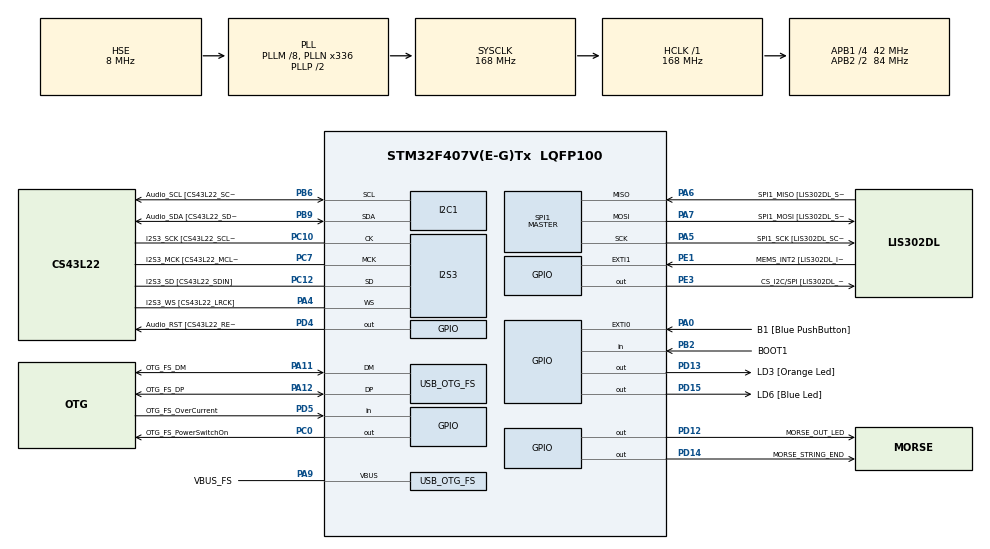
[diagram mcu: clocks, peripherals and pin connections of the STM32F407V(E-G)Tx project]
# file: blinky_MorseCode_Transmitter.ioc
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I2S3.AudioFreq-Half_Duplex_Master=I2S_AUDIOFREQ_96K
I2S3.ErrorAudioFreq=-2.34 %
I2S3.ErrorAudioFreq-Half_Duplex_Master=0.8 %
I2S3.FullDuplexMode=I2S_FULLDUPLEXMODE_DISABLE
I2S3.Instance=SPI$Index
I2S3.RealAudioFreq=93.75 KHz
I2S3.RealAudioFreq-Half_Duplex_Master=96.774 KHz
I2S3.VirtualMode=I2S_MODE_MASTER
Mcu.Family=STM32F4
Mcu.Name=STM32F407V(E-G)Tx
Mcu.Package=LQFP100
NVIC.OTG_FS_IRQn=true\:0\:0\:false\:false\:true\:true\:true\:true
NVIC.PriorityGroup=NVIC_PRIORITYGROUP_0
PA0-WKUP.GPIO_Label=B1 [Blue PushButton]
PA0-WKUP.GPIO_ModeDefaultEXTI=GPIO_MODE_EVT_RISING
PA0-WKUP.GPIO_PuPd=GPIO_NOPULL
PA0-WKUP.Signal=GPXTI0
PA10.GPIO_Label=OTG_FS_ID
PA10.GPIO_Mode=GPIO_MODE_AF_PP
PA10.GPIO_PuPd=GPIO_NOPULL
PA10.GPIO_Speed=GPIO_SPEED_FREQ_LOW
PA10.Signal=USB_OTG_FS_ID
PA11.GPIO_Label=OTG_FS_DM
PA11.GPIO_Mode=GPIO_MODE_AF_PP
PA11.GPIO_PuPd=GPIO_NOPULL
PA11.GPIO_Speed=GPIO_SPEED_FREQ_LOW
PA11.Mode=Host_Only
PA11.Signal=USB_OTG_FS_DM
PA12.GPIO_Label=OTG_FS_DP
PA12.GPIO_Mode=GPIO_MODE_AF_PP
PA12.GPIO_PuPd=GPIO_NOPULL
PA12.GPIO_Speed=GPIO_SPEED_FREQ_LOW
PA12.Mode=Host_Only
PA12.Signal=USB_OTG_FS_DP
PA13.GPIO_Label=SWDIO
PA13.Mode=Serial_Wire
PA13.Signal=SYS_JTMS-SWDIO
PA14.GPIO_Label=SWCLK
PA14.Mode=Serial_Wire
PA14.Signal=SYS_JTCK-SWCLK
PA4.GPIO_Label=I2S3_WS [CS43L22_LRCK]
PA4.GPIO_Mode=GPIO_MODE_AF_PP
PA4.GPIO_PuPd=GPIO_NOPULL
PA4.GPIO_Speed=GPIO_SPEED_FREQ_LOW
PA4.Mode=Half_Duplex_Master
PA4.Signal=I2S3_WS
PA5.GPIO_Label=SPI1_SCK [LIS302DL_SCL/SPC]
PA5.GPIO_Mode=GPIO_MODE_AF_PP
PA5.GPIO_PuPd=GPIO_NOPULL
PA5.GPIO_Speed=GPIO_SPEED_FREQ_LOW
PA5.Mode=Full_Duplex_Master
PA5.Signal=SPI1_SCK
PA6.GPIO_Label=SPI1_MISO [LIS302DL_SDO]
PA6.GPIO_Mode=GPIO_MODE_AF_PP
PA6.GPIO_PuPd=GPIO_NOPULL
PA6.GPIO_Speed=GPIO_SPEED_FREQ_LOW
PA6.Mode=Full_Duplex_Master
PA6.Signal=SPI1_MISO
PA7.GPIO_Label=SPI1_MOSI [LIS302DL_SDA/SDI/SDO]
PA7.GPIO_Mode=GPIO_MODE_AF_PP
PA7.GPIO_PuPd=GPIO_NOPULL
PA7.GPIO_Speed=GPIO_SPEED_FREQ_LOW
PA7.Mode=Full_Duplex_Master
PA7.Signal=SPI1_MOSI
PA9.GPIO_Label=VBUS_FS
PA9.GPIO_Mode=GPIO_MODE_INPUT
PA9.GPIO_PuPd=GPIO_NOPULL
PA9.Mode=Activate_VBUS
PA9.Signal=USB_OTG_FS_VBUS
PB10.GPIO_Label=CLK_IN [MP45DT02_CLK]
PB10.GPIO_Mode=GPIO_MODE_AF_PP
PB10.GPIO_PuPd=GPIO_NOPULL
PB10.GPIO_Speed=GPIO_SPEED_FREQ_LOW
PB10.Signal=I2S2_CK
PB2.GPIO_Label=BOOT1
PB2.GPIO_Mode=GPIO_MODE_INPUT
PB2.GPIO_PuPd=GPIO_NOPULL
PB2.Signal=GPIO_Input
PB3.GPIO_Label=SWO
PB3.Signal=SYS_JTDO-SWO
PB6.GPIO_Label=Audio_SCL [CS43L22_SCL]
PB6.GPIO_Mode=GPIO_MODE_AF_OD
PB6.GPIO_Pu=GPIO_PULLUP
PB6.GPIO_PuPd=GPIO_NOPULL
PB6.GPIO_Speed=GPIO_SPEED_FREQ_LOW
PB6.Mode=I2C
PB6.Signal=I2C1_SCL
PB9.GPIO_Label=Audio_SDA [CS43L22_SDA]
PB9.GPIO_Mode=GPIO_MODE_AF_OD
PB9.GPIO_Pu=GPIO_PULLUP
PB9.GPIO_PuPd=GPIO_NOPULL
PB9.GPIO_Speed=GPIO_SPEED_FREQ_LOW
PB9.Mode=I2C
PB9.Signal=I2C1_SDA
PC0.GPIO_Label=OTG_FS_PowerSwitchOn
PC0.GPIO_PuPd=GPIO_NOPULL
PC0.GPIO_Speed=GPIO_SPEED_FREQ_LOW
PC0.PinState=GPIO_PIN_SET
PC0.Signal=GPIO_Output
PC10.GPIO_Label=I2S3_SCK [CS43L22_SCLK]
PC10.GPIO_Mode=GPIO_MODE_AF_PP
PC10.GPIO_PuPd=GPIO_NOPULL
PC10.GPIO_Speed=GPIO_SPEED_FREQ_LOW
PC10.Mode=Half_Duplex_Master
PC10.Signal=I2S3_CK
PC12.GPIO_Label=I2S3_SD [CS43L22_SDIN]
PC12.GPIO_Mode=GPIO_MODE_AF_PP
PC12.GPIO_PuPd=GPIO_NOPULL
PC12.GPIO_Speed=GPIO_SPEED_FREQ_LOW
PC12.Mode=Half_Duplex_Master
PC12.Signal=I2S3_SD
PC14-OSC32_IN.GPIO_Label=PC14-OSC32_IN
PC14-OSC32_IN.Mode=LSE-External-Oscillator
PC14-OSC32_IN.Signal=RCC_OSC32_IN
PC15-OSC32_OUT.GPIO_Label=PC15-OSC32_OUT
PC15-OSC32_OUT.Mode=LSE-External-Oscillator
PC15-OSC32_OUT.Signal=RCC_OSC32_OUT
PC3.GPIO_Label=PDM_OUT [MP45DT02_DOUT]
PC3.GPIO_Mode=GPIO_MODE_AF_PP
PC3.GPIO_PuPd=GPIO_NOPULL
PC3.GPIO_Speed=GPIO_SPEED_FREQ_LOW
PC3.Signal=I2S2_SD
PC7.GPIO_Label=I2S3_MCK [CS43L22_MCLK]
PC7.GPIO_Mode=GPIO_MODE_AF_PP
PC7.GPIO_PuPd=GPIO_NOPULL
PC7.GPIO_Speed=GPIO_SPEED_FREQ_LOW
PC7.Mode=Master_Clock_Activated
PC7.Signal=I2S3_MCK
PD12.GPIO_Label=MORSE_OUT_LED
PD12.GPIO_PuPd=GPIO_NOPULL
PD12.GPIO_Speed=GPIO_SPEED_FREQ_LOW
PD12.Signal=GPIO_Output
PD13.GPIO_Label=LD3 [Orange Led]
PD13.GPIO_PuPd=GPIO_NOPULL
PD13.GPIO_Speed=GPIO_SPEED_FREQ_LOW
PD13.Signal=GPIO_Output
PD14.GPIO_Label=MORSE_STRING_END
PD14.GPIO_PuPd=GPIO_NOPULL
PD14.GPIO_Speed=GPIO_SPEED_FREQ_LOW
PD14.Signal=GPIO_Output
PD15.GPIO_Label=LD6 [Blue Led]
PD15.GPIO_PuPd=GPIO_NOPULL
PD15.GPIO_Speed=GPIO_SPEED_FREQ_LOW
PD15.Signal=GPIO_Output
PD4.GPIO_Label=Audio_RST [CS43L22_RESET]
PD4.GPIO_PuPd=GPIO_NOPULL
PD4.GPIO_Speed=GPIO_SPEED_FREQ_LOW
PD4.Signal=GPIO_Output
PD5.GPIO_Label=OTG_FS_OverCurrent
PD5.GPIO_Mode=GPIO_MODE_INPUT
PD5.GPIO_PuPd=GPIO_NOPULL
PD5.Signal=GPIO_Input
PE1.GPIO_Label=MEMS_INT2 [LIS302DL_INT2]
PE1.GPIO_ModeDefaultEXTI=GPIO_MODE_EVT_RISING
PE1.GPIO_PuPd=GPIO_NOPULL
PE1.Signal=GPXTI1
PE3.GPIO_Label=CS_I2C/SPI [LIS302DL_CS_I2C/SPI]
PE3.GPIO_PuPd=GPIO_NOPULL
PE3.GPIO_Speed=GPIO_SPEED_FREQ_LOW
PE3.Signal=GPIO_Output
PH0-OSC_IN.GPIO_Label=PH0-OSC_IN
PH0-OSC_IN.Mode=HSE-External-Oscillator
PH0-OSC_IN.Signal=RCC_OSC_IN
PH1-OSC_OUT.GPIO_Label=PH1-OSC_OUT
PH1-OSC_OUT.Mode=HSE-External-Oscillator
PH1-OSC_OUT.Signal=RCC_OSC_OUT
ProjectManager.HeapSize=0x200
ProjectManager.StackSize=0x400
ProjectManager.TargetToolchain=STM32CubeIDE
RCC.48MHZClocksFreq_Value=48000000
RCC.AHBFreq_Value=168000000
RCC.APB1CLKDivider=RCC_HCLK_DIV4
RCC.APB1Freq_Value=42000000
RCC.APB1TimFreq_Value=84000000
RCC.APB2CLKDivider=RCC_HCLK_DIV2
RCC.APB2Freq_Value=84000000
RCC.APB2TimFreq_Value=168000000
RCC.CortexFreq_Value=168000000
RCC.HCLKFreq_Value=168000000
RCC.HSE_VALUE=8000000
RCC.HSI_VALUE=16000000
RCC.PLLM=8
RCC.PLLN=336
RCC.PLLQ=7
RCC.SYSCLKFreq_VALUE=168000000
RCC.SYSCLKSource=RCC_SYSCLKSOURCE_PLLCLK
RCC.VCOOutputFreq_Value=336000000
SPI1.BaudRatePrescaler-Full_Duplex_Master=SPI_BAUDRATEPRESCALER_2
SPI1.CalculateBaudRate-Full_Duplex_Master=42.0 MBits/s
SPI1.Direction=SPI_DIRECTION_2LINES
SPI1.Mode=SPI_MODE_MASTER
SPI1.Mode-Full_Duplex_Master=SPI_MODE_MASTER
SPI1.VirtualType=VM_MASTER
USB_HOST.BSP.number=1
USB_HOST.USBH_HandleTypeDef-CDC_FS=hUsbHostFS
USB_HOST.VirtualModeFS=Cdc
USB_HOST0.BSP.STBoard=false
USB_HOST0.BSP.api=Unknown
USB_HOST0.BSP.instance=PC0
USB_HOST0.BSP.ip=GPIO
USB_HOST0.BSP.mode=Output
USB_HOST0.BSP.name=Drive_VBUS_FS
USB_HOST0.BSP.solution=PC0
USB_OTG_FS.VirtualMode=Host_Only
USB_OTG_FS.phy_itface=HCD_PHY_EMBEDDED
VP_USB_HOST_VS_USB_HOST_CDC_FS.Mode=CDC_FS
board=STM32F407G-DISC1

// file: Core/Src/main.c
/* USER CODE BEGIN Header */
/**
  ******************************************************************************
  * @file           : main.c
  * @brief          : Main program body
  ******************************************************************************
  * @attention
  *
  * Copyright (c) 2023 STMicroelectronics.
  * All rights reserved.
  *
  * This software is licensed under terms that can be found in the LICENSE file
  * in the root directory of this software component.
  * If no LICENSE file comes with this software, it is provided AS-IS.
  *
  ******************************************************************************
  */
/* USER CODE END Header */
#include "main.h"
#include "usb_host.h"

/* USER CODE BEGIN Includes */
#include "string.h"
/* USER CODE END Includes */

I2C_HandleTypeDef hi2c1;

I2S_HandleTypeDef hi2s3;

SPI_HandleTypeDef hspi1;

void SystemClock_Config(void);
static void MX_GPIO_Init(void);
static void MX_I2C1_Init(void);
static void MX_I2S3_Init(void);
static void MX_SPI1_Init(void);
void MX_USB_HOST_Process(void);

/* USER CODE BEGIN 0 */
void out_dot (int unit_of_time);
void out_dash(int unit_of_time);
void out_spacing(int unit_of_time, int time_spacing);
/* USER CODE END 0 */

int main(void)
{
  /* USER CODE BEGIN 1 */

	//Defining the Morse-Code Code for A-Z in English Morse-Code.
	//0=dot,1=dash,read right-to-left
	const unsigned long a_table[36] =
	{
		0b110100,		//A
		0b1100000001,	//B
		0b1100010001,	//C
		0b11000001,		//D
		0b1100,		//E
		0b1100010000,	//F
		0b11000101,		//G
		0b1100000000,	//H
		0b110000,		//I
		0b1101010100,	//J
		0b11010001,		//K
		0b1100000100,	//L
		0b110101,		//M
		0b110001,		//N
		0b11010101,		//O
		0b1100010100,	//P
		0b1101000101,	//Q
		0b11000100,		//R
		0b11000000,		//S
		0b1101,			//T
		0b11010000,		//U
		0b1101000000,	//V
		0b11010100,		//W
		0b1101000001,	//X
		0b1101010001,	//Y
		0b1100000101,	//Z
	};

	//NOTE: ONLY UPPERCASE ONLY MESSAGES
	char msg[] = "OMAR";
	int  msglen = strlen(msg);
	int morse_time_unit = 500;
	int word_spacing_time_scale = 7;
	int letter_spacing_time_scale = 3;

  /* USER CODE END 1 */

  /* MCU Configuration--------------------------------------------------------*/

  /* Reset of all peripherals, Initializes the Flash interface and the Systick. */
  HAL_Init();

  /* Configure the system clock */
  SystemClock_Config();

  /* Initialize all configured peripherals */
  MX_GPIO_Init();
  MX_I2C1_Init();
  MX_I2S3_Init();
  MX_SPI1_Init();
  MX_USB_HOST_Init();

  /* Infinite loop */
  while (1)
  {
    MX_USB_HOST_Process();

    /* USER CODE BEGIN 3 */
    //initial delay before transmitting code
    HAL_Delay(500);

	int i = 0;
	int k = 0;
	for (i = 0; i <= msglen; i++){
		if (msg[i] == '\0') {
			// if the current character has ended then exit.
			// ending indicated by 10seconds of RED LED (PD14)
			HAL_GPIO_WritePin(MORSE_STRING_END_GPIO_Port, MORSE_STRING_END_Pin, GPIO_PIN_SET);
			HAL_Delay(10000);
			HAL_GPIO_WritePin(GPIOD, GPIO_PIN_14, GPIO_PIN_RESET);
			break;
		}else if (msg[i] == ' '){
			// if the current character has space, wait word-spacing time units
			out_spacing(morse_time_unit, word_spacing_time_scale);
		}else{
			// if the current character is A~Z, translate to Morse-Code
			int temp = msg[i]-65;
			while (1){
				//0 = dot
				//1 = dash
				//F = exit condition
				int hex_digit = (a_table[temp] & ( 0b11 << 2*k )) >> 2*k;
				if (hex_digit == 0xf){
					out_spacing(morse_time_unit,letter_spacing_time_scale);
					break;
				}else if (hex_digit == 0b01){
					//dash flash
					out_dash(morse_time_unit);
					//letter spacing
					out_spacing(morse_time_unit,1);
				}else if (hex_digit == 0b00){
					//dot flash
					out_dot (morse_time_unit);
					//letter spacing
					out_spacing(morse_time_unit,1);
				}else{
					//there is an error if we are here !!
					break;
				}
				k = k + 1;
			}
			k = 0;
		}
	}
  }
  /* USER CODE END 3 */
}

void SystemClock_Config(void)
{
  RCC_OscInitTypeDef RCC_OscInitStruct = {0};
  RCC_ClkInitTypeDef RCC_ClkInitStruct = {0};

  /** Configure the main internal regulator output voltage
  */
  __HAL_RCC_PWR_CLK_ENABLE();
  __HAL_PWR_VOLTAGESCALING_CONFIG(PWR_REGULATOR_VOLTAGE_SCALE1);

  /** Initializes the RCC Oscillators according to the specified parameters
  * in the RCC_OscInitTypeDef structure.
  */
  RCC_OscInitStruct.OscillatorType = RCC_OSCILLATORTYPE_HSE;
  RCC_OscInitStruct.HSEState = RCC_HSE_ON;
  RCC_OscInitStruct.PLL.PLLState = RCC_PLL_ON;
  RCC_OscInitStruct.PLL.PLLSource = RCC_PLLSOURCE_HSE;
  RCC_OscInitStruct.PLL.PLLM = 8;
  RCC_OscInitStruct.PLL.PLLN = 336;
  RCC_OscInitStruct.PLL.PLLP = RCC_PLLP_DIV2;
  RCC_OscInitStruct.PLL.PLLQ = 7;
  if (HAL_RCC_OscConfig(&RCC_OscInitStruct) != HAL_OK)
  {
    Error_Handler();
  }

  /** Initializes the CPU, AHB and APB buses clocks
  */
  RCC_ClkInitStruct.ClockType = RCC_CLOCKTYPE_HCLK|RCC_CLOCKTYPE_SYSCLK
                              |RCC_CLOCKTYPE_PCLK1|RCC_CLOCKTYPE_PCLK2;
  RCC_ClkInitStruct.SYSCLKSource = RCC_SYSCLKSOURCE_PLLCLK;
  RCC_ClkInitStruct.AHBCLKDivider = RCC_SYSCLK_DIV1;
  RCC_ClkInitStruct.APB1CLKDivider = RCC_HCLK_DIV4;
  RCC_ClkInitStruct.APB2CLKDivider = RCC_HCLK_DIV2;

  if (HAL_RCC_ClockConfig(&RCC_ClkInitStruct, FLASH_LATENCY_5) != HAL_OK)
  {
    Error_Handler();
  }
}

static void MX_I2C1_Init(void)
{

  hi2c1.Instance = I2C1;
  hi2c1.Init.ClockSpeed = 100000;
  hi2c1.Init.DutyCycle = I2C_DUTYCYCLE_2;
  hi2c1.Init.OwnAddress1 = 0;
  hi2c1.Init.AddressingMode = I2C_ADDRESSINGMODE_7BIT;
  hi2c1.Init.DualAddressMode = I2C_DUALADDRESS_DISABLE;
  hi2c1.Init.OwnAddress2 = 0;
  hi2c1.Init.GeneralCallMode = I2C_GENERALCALL_DISABLE;
  hi2c1.Init.NoStretchMode = I2C_NOSTRETCH_DISABLE;
  if (HAL_I2C_Init(&hi2c1) != HAL_OK)
  {
    Error_Handler();
  }

}

static void MX_I2S3_Init(void)
{

  hi2s3.Instance = SPI3;
  hi2s3.Init.Mode = I2S_MODE_MASTER_TX;
  hi2s3.Init.Standard = I2S_STANDARD_PHILIPS;
  hi2s3.Init.DataFormat = I2S_DATAFORMAT_16B;
  hi2s3.Init.MCLKOutput = I2S_MCLKOUTPUT_ENABLE;
  hi2s3.Init.AudioFreq = I2S_AUDIOFREQ_96K;
  hi2s3.Init.CPOL = I2S_CPOL_LOW;
  hi2s3.Init.ClockSource = I2S_CLOCK_PLL;
  hi2s3.Init.FullDuplexMode = I2S_FULLDUPLEXMODE_DISABLE;
  if (HAL_I2S_Init(&hi2s3) != HAL_OK)
  {
    Error_Handler();
  }

}

static void MX_SPI1_Init(void)
{

  /* SPI1 parameter configuration*/
  hspi1.Instance = SPI1;
  hspi1.Init.Mode = SPI_MODE_MASTER;
  hspi1.Init.Direction = SPI_DIRECTION_2LINES;
  hspi1.Init.DataSize = SPI_DATASIZE_8BIT;
  hspi1.Init.CLKPolarity = SPI_POLARITY_LOW;
  hspi1.Init.CLKPhase = SPI_PHASE_1EDGE;
  hspi1.Init.NSS = SPI_NSS_SOFT;
  hspi1.Init.BaudRatePrescaler = SPI_BAUDRATEPRESCALER_2;
  hspi1.Init.FirstBit = SPI_FIRSTBIT_MSB;
  hspi1.Init.TIMode = SPI_TIMODE_DISABLE;
  hspi1.Init.CRCCalculation = SPI_CRCCALCULATION_DISABLE;
  hspi1.Init.CRCPolynomial = 10;
  if (HAL_SPI_Init(&hspi1) != HAL_OK)
  {
    Error_Handler();
  }

}

static void MX_GPIO_Init(void)
{
  GPIO_InitTypeDef GPIO_InitStruct = {0};

  /* GPIO Ports Clock Enable */
  __HAL_RCC_GPIOE_CLK_ENABLE();
  __HAL_RCC_GPIOC_CLK_ENABLE();
  __HAL_RCC_GPIOH_CLK_ENABLE();
  __HAL_RCC_GPIOA_CLK_ENABLE();
  __HAL_RCC_GPIOB_CLK_ENABLE();
  __HAL_RCC_GPIOD_CLK_ENABLE();

  /*Configure GPIO pin Output Level */
  HAL_GPIO_WritePin(CS_I2C_SPI_GPIO_Port, CS_I2C_SPI_Pin, GPIO_PIN_RESET);

  /*Configure GPIO pin Output Level */
  HAL_GPIO_WritePin(OTG_FS_PowerSwitchOn_GPIO_Port, OTG_FS_PowerSwitchOn_Pin, GPIO_PIN_SET);

  /*Configure GPIO pin Output Level */
  HAL_GPIO_WritePin(GPIOD, MORSE_OUT_LED_Pin|LD3_Pin|MORSE_STRING_END_Pin|LD6_Pin
                          |Audio_RST_Pin, GPIO_PIN_RESET);

  /*Configure GPIO pin : CS_I2C_SPI_Pin */
  GPIO_InitStruct.Pin = CS_I2C_SPI_Pin;
  GPIO_InitStruct.Mode = GPIO_MODE_OUTPUT_PP;
  GPIO_InitStruct.Pull = GPIO_NOPULL;
  GPIO_InitStruct.Speed = GPIO_SPEED_FREQ_LOW;
  HAL_GPIO_Init(CS_I2C_SPI_GPIO_Port, &GPIO_InitStruct);

  /*Configure GPIO pin : OTG_FS_PowerSwitchOn_Pin */
  GPIO_InitStruct.Pin = OTG_FS_PowerSwitchOn_Pin;
  GPIO_InitStruct.Mode = GPIO_MODE_OUTPUT_PP;
  GPIO_InitStruct.Pull = GPIO_NOPULL;
  GPIO_InitStruct.Speed = GPIO_SPEED_FREQ_LOW;
  HAL_GPIO_Init(OTG_FS_PowerSwitchOn_GPIO_Port, &GPIO_InitStruct);

  /*Configure GPIO pin : PDM_OUT_Pin */
  GPIO_InitStruct.Pin = PDM_OUT_Pin;
  GPIO_InitStruct.Mode = GPIO_MODE_AF_PP;
  GPIO_InitStruct.Pull = GPIO_NOPULL;
  GPIO_InitStruct.Speed = GPIO_SPEED_FREQ_LOW;
  GPIO_InitStruct.Alternate = GPIO_AF5_SPI2;
  HAL_GPIO_Init(PDM_OUT_GPIO_Port, &GPIO_InitStruct);

  /*Configure GPIO pin : B1_Pin */
  GPIO_InitStruct.Pin = B1_Pin;
  GPIO_InitStruct.Mode = GPIO_MODE_EVT_RISING;
  GPIO_InitStruct.Pull = GPIO_NOPULL;
  HAL_GPIO_Init(B1_GPIO_Port, &GPIO_InitStruct);

  /*Configure GPIO pin : BOOT1_Pin */
  GPIO_InitStruct.Pin = BOOT1_Pin;
  GPIO_InitStruct.Mode = GPIO_MODE_INPUT;
  GPIO_InitStruct.Pull = GPIO_NOPULL;
  HAL_GPIO_Init(BOOT1_GPIO_Port, &GPIO_InitStruct);

  /*Configure GPIO pin : CLK_IN_Pin */
  GPIO_InitStruct.Pin = CLK_IN_Pin;
  GPIO_InitStruct.Mode = GPIO_MODE_AF_PP;
  GPIO_InitStruct.Pull = GPIO_NOPULL;
  GPIO_InitStruct.Speed = GPIO_SPEED_FREQ_LOW;
  GPIO_InitStruct.Alternate = GPIO_AF5_SPI2;
  HAL_GPIO_Init(CLK_IN_GPIO_Port, &GPIO_InitStruct);

  /*Configure GPIO pins : MORSE_OUT_LED_Pin LD3_Pin MORSE_STRING_END_Pin LD6_Pin
                           Audio_RST_Pin */
  GPIO_InitStruct.Pin = MORSE_OUT_LED_Pin|LD3_Pin|MORSE_STRING_END_Pin|LD6_Pin
                          |Audio_RST_Pin;
  GPIO_InitStruct.Mode = GPIO_MODE_OUTPUT_PP;
  GPIO_InitStruct.Pull = GPIO_NOPULL;
  GPIO_InitStruct.Speed = GPIO_SPEED_FREQ_LOW;
  HAL_GPIO_Init(GPIOD, &GPIO_InitStruct);

  /*Configure GPIO pin : OTG_FS_OverCurrent_Pin */
  GPIO_InitStruct.Pin = OTG_FS_OverCurrent_Pin;
  GPIO_InitStruct.Mode = GPIO_MODE_INPUT;
  GPIO_InitStruct.Pull = GPIO_NOPULL;
  HAL_GPIO_Init(OTG_FS_OverCurrent_GPIO_Port, &GPIO_InitStruct);

  /*Configure GPIO pin : MEMS_INT2_Pin */
  GPIO_InitStruct.Pin = MEMS_INT2_Pin;
  GPIO_InitStruct.Mode = GPIO_MODE_EVT_RISING;
  GPIO_InitStruct.Pull = GPIO_NOPULL;
  HAL_GPIO_Init(MEMS_INT2_GPIO_Port, &GPIO_InitStruct);

}

/* USER CODE BEGIN 4 */
void out_spacing(int unit_of_time, int time_spacing){
	HAL_Delay(time_spacing * unit_of_time);
//	return 0;
};

void out_dot(int unit_of_time){
	HAL_GPIO_WritePin(MORSE_OUT_LED_GPIO_Port, MORSE_OUT_LED_Pin, GPIO_PIN_SET);
	HAL_Delay(unit_of_time);//1-time-unit for dot
	HAL_GPIO_WritePin(MORSE_OUT_LED_GPIO_Port, MORSE_OUT_LED_Pin, GPIO_PIN_RESET);
//	return 0;
};
void out_dash(int unit_of_time){
	HAL_GPIO_WritePin(MORSE_OUT_LED_GPIO_Port, MORSE_OUT_LED_Pin, GPIO_PIN_SET);
	HAL_Delay(3 * unit_of_time);//3-time-units for dash
	HAL_GPIO_WritePin(MORSE_OUT_LED_GPIO_Port, MORSE_OUT_LED_Pin, GPIO_PIN_RESET);
//	return 0;
};
/* USER CODE END 4 */

void Error_Handler(void)
{
  __disable_irq();
  while (1)
  {
  }
}
